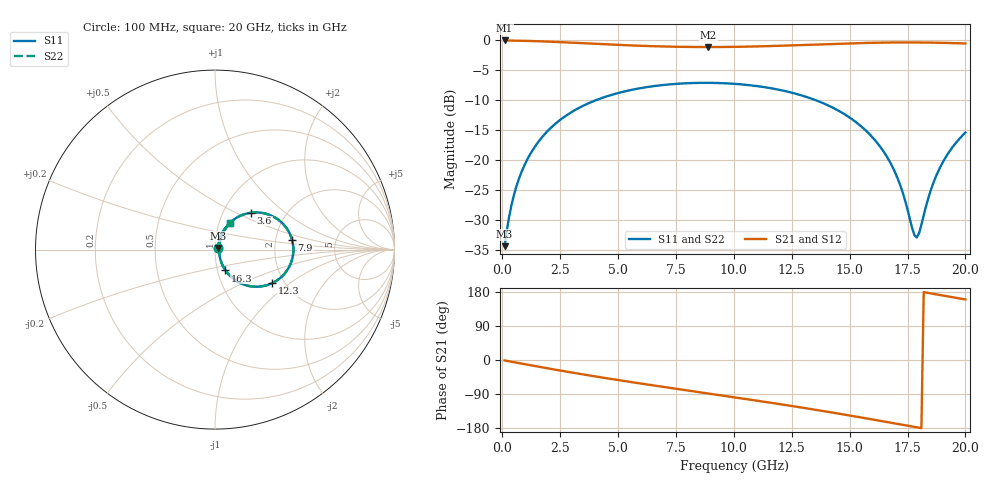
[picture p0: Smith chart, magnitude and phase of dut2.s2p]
! Touchstone file exported from HFSS 2026.1.0
!  File:  C:/ffzhzh/LocalFiles/Ansys_Project_Files/temp_test_TSV_RDL_2_1782978450_45308.aedt
!  Generated:  03:56:10 PM Jul  2, 2026
!  Design:  TSV_RDL
!  Project:  temp_test_TSV_RDL_2_1782978450_45308
! Variables:
!  h_bsmrdl = 4.61um
!  h_ox = 20um
!  h_rdl = 5um
!  h_sub = 63.69um
!  h_tmrdl = 5.56um
!  h_tsv = 63.69um
!  h_via = 3um
!  l_bsmrdl = 199.99um
!  l_sub = 3447.17um
!  l_tmrdl = 592.57um
!  m_sub = 200um
!  pitch = 31.17um
!  r_tsv = 6.49um
!  s_tmrdl = 10um
!  w_bsmrdl = 10.45um
!  w_sub = 500um
!  w_tmrdl = 15.19um
!  x_tsv_center1 = 600.165um
!  x_tsv_center2 = 810.605um
!  x_tsv_center3 = 1418.365um
!  x_tsv_center4 = 1628.805um
!  x_tsv_center5 = 2236.565um
!  x_tsv_center6 = 2447.005um
# GHz S MA R 50.000000
! Terminal data exported
! Port[1] = TM_RDL1_1_T1
! Port[2] = TM_RDL5_1_T1
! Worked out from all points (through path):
!   200 points, 100 MHz to 20 GHz, reference 50 ohm
!   highest |S21| = -0.14 dB at 100 MHz (marker M1); lowest = -1.2 dB at 8.9 GHz (marker M2)
!   group delay of S21, straight-line fit = 26.9 ps
!   lowest |S11| = -34.4 dB at 100 MHz (marker M3), VSWR 1.04, Z = 51.7 + j1.01 ohm
!   |S11| at or under -10 dB: start of sweep to 4.1 GHz; 13.48 GHz to end of sweep
!   |S22| runs from -34.4 to -7.2 dB; largest |S21 - S12| = 2.6e-14
!   S11 on the Smith chart (normalised r, x): 100 MHz: 1.03, +0.02; 3.6 GHz: 1.35, +0.61; 7.9 GHz: 2.47, +0.34; 12.3 GHz: 1.73, -0.75; 16.3 GHz: 1.09, -0.26; 20 GHz: 1.13, +0.34
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0.1  0.0191 30.6  0.9837 -1.2  0.9837 -1.2  0.0191 30.6
! Gamma 0 0 0 0
! Port Impedance 50 0 50 0
0.3  0.03394 55.6  0.9821 -3.5  0.9821 -3.5  0.03394 55.6
0.5  0.0507 63.0  0.9805 -5.8  0.9805 -5.8  0.0507 63.0
1.2  0.1109 65.9  0.9737 -13.6  0.9737 -13.6  0.1109 65.9
2.2  0.1924 58.6  0.9584 -24.6  0.9584 -24.6  0.1924 58.6
3.5  0.282 46.5  0.9328 -38.2  0.9328 -38.2  0.282 46.5
3.6  0.288 45.6  0.9308 -39.2  0.9308 -39.2  0.288 45.6
6.8  0.4159 16.7  0.878 -69.6  0.878 -69.6  0.4159 16.8
7.9  0.4327 7.3  0.8695 -79.5  0.8695 -79.5  0.4327 7.4
8.9  0.4367 -1.1  0.8671 -88.4  0.8671 -88.4  0.4367 -1.1
10.1  0.4274 -11.3  0.8706 -99.1  0.8706 -99.1  0.4274 -11.3
12.3  0.3696 -30.3  0.8925 -119.4  0.8925 -119.4  0.3696 -30.3
13.4  0.3202 -40.1  0.9081 -130.1  0.9081 -130.1  0.3202 -40.1
15.1  0.2178 -55.0  0.9318 -147.5  0.9318 -147.5  0.2178 -54.9
16.3  0.13 -63.3  0.9435 -160.2  0.9435 -160.2  0.13 -63.2
16.7  0.09899 -64.3  0.9458 -164.6  0.9458 -164.6  0.09898 -64.2
17.2  0.06031 -60.8  0.9473 -170.0  0.9473 -170.0  0.06033 -60.6
17.7  0.02702 -31.5  0.9474 -175.5  0.9474 -175.5  0.02712 -31.3
17.9  0.02257 3.7  0.9469 -177.6  0.9469 -177.6  0.02273 3.9
18.8  0.07812 63.7  0.9419 172.6  0.9419 172.6  0.07821 63.6
19.3  0.1164 64.1  0.9371 167.2  0.9371 167.2  0.1165 64.0
20  0.1684 60.3  0.9284 159.8  0.9284 159.8  0.1685 60.3
